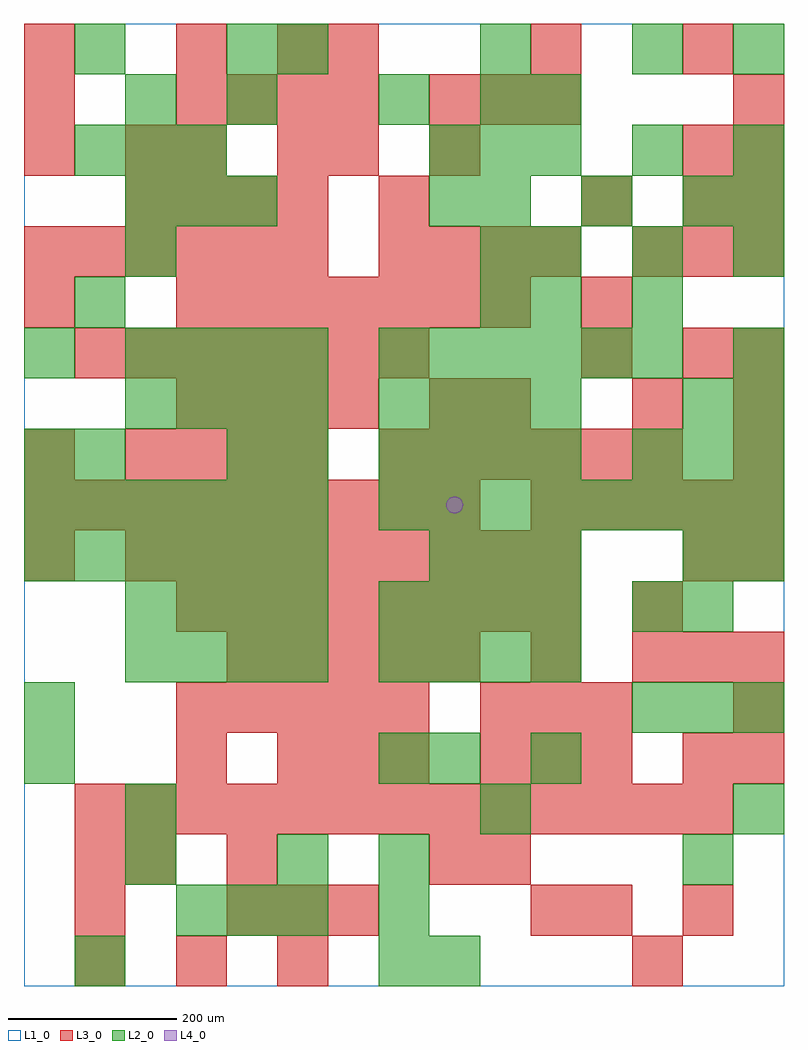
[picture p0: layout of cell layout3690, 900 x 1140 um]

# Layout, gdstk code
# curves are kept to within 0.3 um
import gdstk
lib = gdstk.Library(unit=1e-6, precision=1e-09)
def R(c, l, rs):  # rectangles x0, y0, x1, y1
    for r in rs: c.add(gdstk.rectangle(r[:2], r[2:], *l))
def A(c, l, x, y, w, h, nx, ny, dx, dy):  # array of equal rectangles
    R(c, l, [(x+i*dx, y+j*dy, x+i*dx+w, y+j*dy+h) for i in range(nx) for j in range(ny)])
def P(c, l, *ps):  # polygons
    for p in ps: c.add(gdstk.Polygon(p, *l))
L1_0 = (1, 0)
L2_0 = (2, 0)
L3_0 = (3, 0)
L4_0 = (4, 0)

layout3690 = lib.new_cell('layout3690')
R(layout3690, L1_0, [(0,0,900,1140)])
A(layout3690, L2_0, 420, 0, 60, 60, 1, 3, 0, 60)
A(layout3690, L2_0, 180, 60, 60, 60, 3, 1, 60, 0)
A(layout3690, L2_0, 300, 120, 60, 60, 1, 3, 0, 480)
A(layout3690, L2_0, 720, 300, 60, 60, 3, 2, 60, 300)
A(layout3690, L2_0, 120, 360, 60, 60, 4, 2, 60, 60)
A(layout3690, L2_0, 420, 360, 60, 60, 4, 2, 60, 60)
A(layout3690, L2_0, 0, 480, 60, 60, 6, 2, 60, 60)
A(layout3690, L2_0, 480, 480, 60, 60, 3, 2, 60, 480)
A(layout3690, L2_0, 420, 540, 60, 60, 8, 1, 60, 0)
A(layout3690, L2_0, 420, 600, 60, 60, 4, 2, 60, 60)
A(layout3690, L2_0, 120, 660, 60, 60, 4, 2, 60, 60)
A(layout3690, L2_0, 420, 720, 60, 60, 6, 1, 60, 0)
A(layout3690, L2_0, 600, 840, 60, 60, 3, 1, 120, 0)
A(layout3690, L2_0, 120, 900, 60, 60, 3, 1, 60, 0)
A(layout3690, L2_0, 540, 900, 60, 60, 3, 1, 120, 0)
A(layout3690, L2_0, 60, 960, 60, 60, 3, 1, 60, 0)
R(layout3690, L2_0, [(60,0,120,60), (480,0,540,60), (120,120,180,180), (780,120,840,180), (120,180,180,240), (540,180,600,240), (840,180,900,240), (0,240,60,300), (420,240,480,300), (480,240,540,300), (600,240,660,300), (0,300,60,360), (720,420,780,480), (780,420,840,480), (780,480,840,540), (840,480,900,540), (0,600,60,660), (60,600,120,660), (240,600,300,660), (780,660,840,720), (840,660,900,720), (0,720,60,780), (840,720,900,780), (60,780,120,840), (540,780,600,840), (600,780,660,840), (720,780,780,840), (120,840,180,900), (540,840,600,900), (480,900,540,960), (840,900,900,960), (720,960,780,1020), (840,960,900,1020), (120,1020,180,1080), (240,1020,300,1080), (420,1020,480,1080), (540,1020,600,1080), (600,1020,660,1080), (60,1080,120,1140), (240,1080,300,1140), (540,1080,600,1140), (720,1080,780,1140), (840,1080,900,1140)])
A(layout3690, L3_0, 60, 0, 60, 60, 3, 1, 120, 0)
A(layout3690, L3_0, 240, 60, 60, 60, 3, 1, 60, 0)
A(layout3690, L3_0, 60, 180, 60, 60, 13, 1, 60, 0)
A(layout3690, L3_0, 300, 240, 60, 60, 3, 1, 60, 0)
A(layout3690, L3_0, 540, 240, 60, 60, 3, 2, 60, 60)
A(layout3690, L3_0, 780, 240, 60, 60, 1, 3, 0, 240)
A(layout3690, L3_0, 180, 300, 60, 60, 5, 1, 60, 0)
A(layout3690, L3_0, 240, 360, 60, 60, 5, 1, 60, 0)
A(layout3690, L3_0, 720, 360, 60, 60, 3, 2, 60, 480)
A(layout3690, L3_0, 180, 420, 60, 60, 8, 1, 60, 0)
A(layout3690, L3_0, 120, 480, 60, 60, 9, 1, 60, 0)
A(layout3690, L3_0, 0, 540, 60, 60, 9, 1, 60, 0)
A(layout3690, L3_0, 600, 540, 60, 60, 5, 1, 60, 0)
A(layout3690, L3_0, 0, 600, 60, 60, 1, 3, 0, 180)
A(layout3690, L3_0, 120, 600, 60, 60, 4, 2, 60, 300)
A(layout3690, L3_0, 420, 600, 60, 60, 6, 1, 60, 0)
A(layout3690, L3_0, 840, 600, 60, 60, 1, 3, 0, 60)
A(layout3690, L3_0, 180, 660, 60, 60, 4, 2, 60, 360)
A(layout3690, L3_0, 60, 720, 60, 60, 7, 1, 60, 0)
A(layout3690, L3_0, 180, 780, 60, 60, 7, 1, 60, 0)
A(layout3690, L3_0, 0, 840, 60, 60, 6, 1, 60, 0)
A(layout3690, L3_0, 420, 840, 60, 60, 4, 1, 60, 0)
A(layout3690, L3_0, 840, 900, 60, 60, 1, 3, 0, 60)
A(layout3690, L3_0, 480, 1020, 60, 60, 3, 1, 60, 0)
R(layout3690, L3_0, [(720,0,780,60), (60,60,120,120), (600,60,660,120), (660,60,720,120), (780,60,840,120), (60,120,120,180), (120,120,180,180), (240,120,300,180), (480,120,540,180), (540,120,600,180), (180,240,240,300), (840,240,900,300), (840,300,900,360), (600,360,660,420), (720,420,780,480), (0,480,60,540), (840,480,900,540), (480,660,540,720), (540,660,600,720), (720,660,780,720), (660,720,720,780), (660,780,720,840), (420,900,480,960), (660,900,720,960), (780,900,840,960), (120,960,180,1020), (180,960,240,1020), (300,960,360,1020), (360,960,420,1020), (480,960,540,1020), (780,960,840,1020), (0,1020,60,1080), (0,1080,60,1140), (180,1080,240,1140), (300,1080,360,1140), (360,1080,420,1140), (600,1080,660,1140), (780,1080,840,1140)])
P(layout3690, L4_0, [(520,570),(519.239,573.827),(517.071,577.071),(513.827,579.239),(510,580),(506.173,579.239),(502.929,577.071),(500.761,573.827),(500,570),(500.761,566.173),(502.929,562.929),(506.173,560.761),(510,560),(513.827,560.761),(517.071,562.929),(519.239,566.173)])

lib.write_gds('layout3690.gds')
